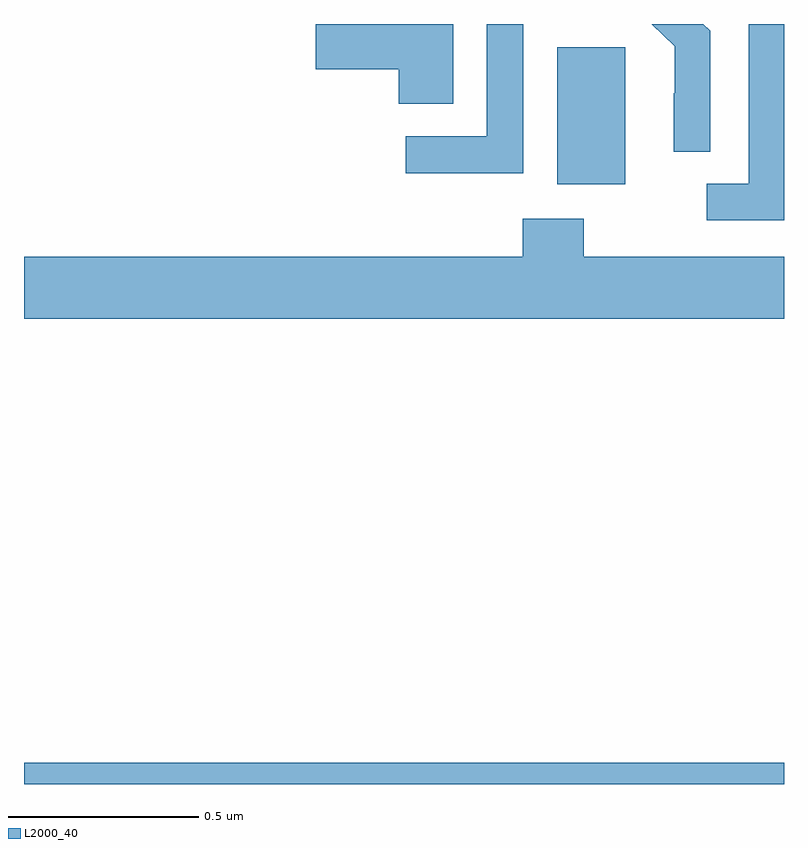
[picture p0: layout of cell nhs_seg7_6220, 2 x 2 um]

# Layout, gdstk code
import gdstk
lib = gdstk.Library(unit=1e-6, precision=1e-09)
def R(c, l, rs):  # rectangles x0, y0, x1, y1
    for r in rs: c.add(gdstk.rectangle(r[:2], r[2:], *l))
def P(c, l, *ps):  # polygons
    for p in ps: c.add(gdstk.Polygon(p, *l))
L2000_40 = (2000, 40)

nhs_seg7_6220 = lib.new_cell('nhs_seg7_6220')
R(nhs_seg7_6220, L2000_40, [(195,1058,197,1058.056), (196.403,1059.578,196.582,1059.939)])
P(nhs_seg7_6220, L2000_40, [(196.129,1060),(195.768,1060),(195.768,1059.881),(195.986,1059.881),(195.986,1059.79),(196.129,1059.79)],
  [(197,1060),(196.907,1060),(196.907,1059.579),(196.797,1059.579),(196.797,1059.483),(197,1059.483)],
  [(196.314,1060),(196.218,1060),(196.218,1059.705),(196.005,1059.705),(196.005,1059.607),(196.314,1059.607)],
  [(196.806,1059.982),(196.788,1060),(196.652,1060),(196.712,1059.941),(196.712,1059.818),(196.71,1059.818),(196.71,1059.664),(196.806,1059.664)],
  [(197,1059.388),(196.473,1059.388),(196.473,1059.487),(196.313,1059.487),(196.313,1059.388),(195,1059.388),(195,1059.224),(197,1059.224)])

lib.write_gds('nhs_seg7_6220.gds')
